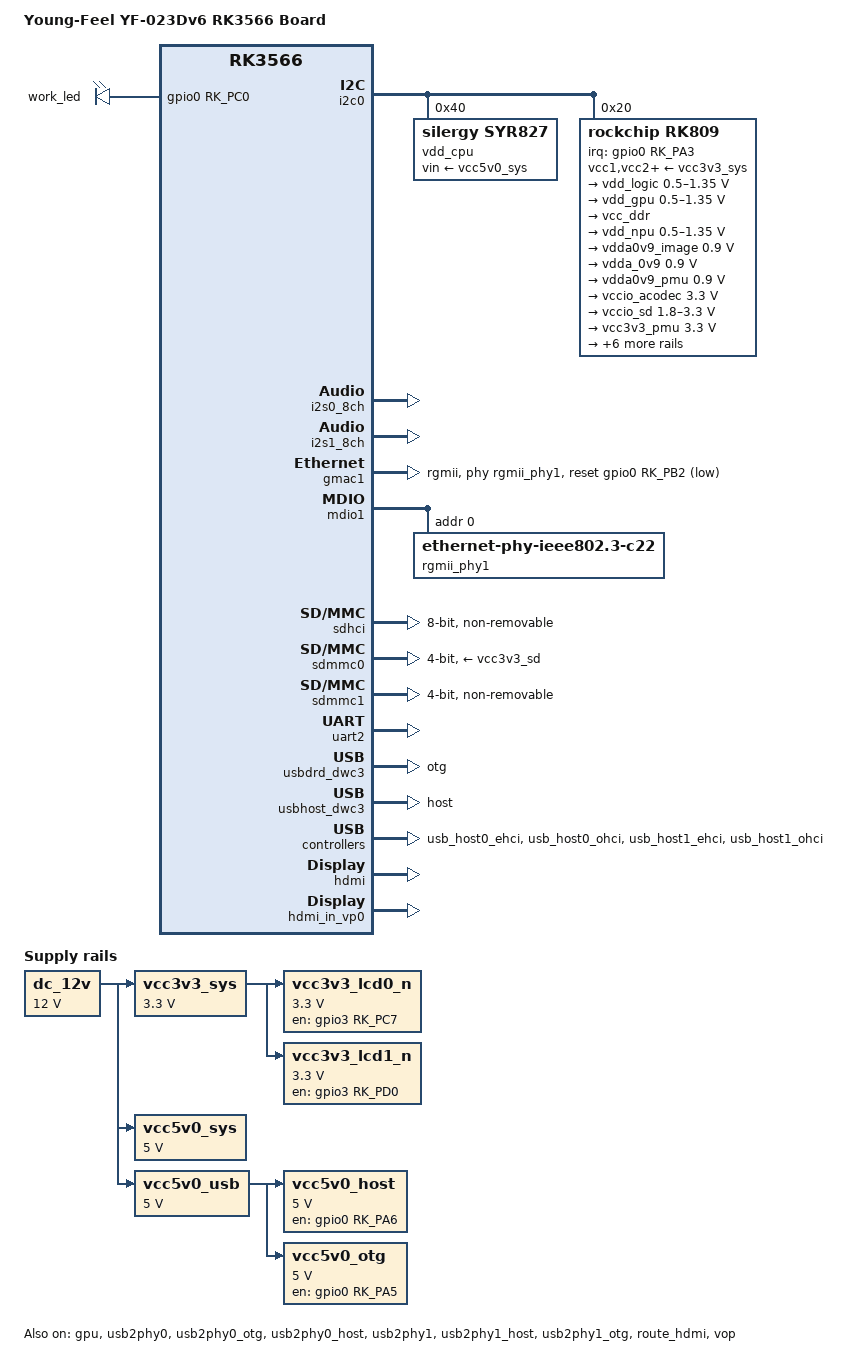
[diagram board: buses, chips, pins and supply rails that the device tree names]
// SPDX-License-Identifier: (GPL-2.0+ OR MIT)
/*
 * Young-Feel YF-023Dv6 RK3566 Board
 * Custom DTS for Armbian, based on mainline rk3566.dtsi
 */

/dts-v1/;

#include "rk3566.dtsi"
#include <dt-bindings/gpio/gpio.h>
#include <dt-bindings/pinctrl/rockchip.h>
#include <dt-bindings/interrupt-controller/irq.h>
#include <dt-bindings/leds/common.h>
#include <dt-bindings/soc/rockchip,vop2.h>

/ {
	model = "Young-Feel YF-023Dv6 RK3566 Board";
	compatible = "rockchip,rk3566-yf-xxxd-mipi", "rockchip,rk3566";

	aliases {
		ethernet0 = &gmac1;
		mmc0 = &sdhci;
		mmc1 = &sdmmc0;
		mmc2 = &sdmmc1;
	};

	chosen: chosen {
		stdout-path = "serial2:1500000n8";
	};

	dc_12v: dc-12v {
		compatible = "regulator-fixed";
		regulator-name = "dc_12v";
		regulator-always-on;
		regulator-boot-on;
		regulator-min-microvolt = <12000000>;
		regulator-max-microvolt = <12000000>;
	};

	vcc3v3_sys: vcc3v3-sys {
		compatible = "regulator-fixed";
		regulator-name = "vcc3v3_sys";
		regulator-always-on;
		regulator-boot-on;
		regulator-min-microvolt = <3300000>;
		regulator-max-microvolt = <3300000>;
		vin-supply = <&dc_12v>;
	};

	vcc5v0_sys: vcc5v0-sys {
		compatible = "regulator-fixed";
		regulator-name = "vcc5v0_sys";
		regulator-always-on;
		regulator-boot-on;
		regulator-min-microvolt = <5000000>;
		regulator-max-microvolt = <5000000>;
		vin-supply = <&dc_12v>;
	};

	vcc5v0_usb: vcc5v0-usb {
		compatible = "regulator-fixed";
		regulator-name = "vcc5v0_usb";
		regulator-always-on;
		regulator-boot-on;
		regulator-min-microvolt = <5000000>;
		regulator-max-microvolt = <5000000>;
		vin-supply = <&dc_12v>;
	};

	vcc5v0_host: vcc5v0-host-regulator {
		compatible = "regulator-fixed";
		regulator-name = "vcc5v0_host";
		regulator-boot-on;
		regulator-always-on;
		regulator-min-microvolt = <5000000>;
		regulator-max-microvolt = <5000000>;
		enable-active-high;
		gpio = <&gpio0 RK_PA6 GPIO_ACTIVE_HIGH>;
		vin-supply = <&vcc5v0_usb>;
		pinctrl-names = "default";
		pinctrl-0 = <&vcc5v0_host_en>;
	};

	vcc5v0_otg: vcc5v0-otg-regulator {
		compatible = "regulator-fixed";
		regulator-name = "vcc5v0_otg";
		regulator-min-microvolt = <5000000>;
		regulator-max-microvolt = <5000000>;
		enable-active-high;
		gpio = <&gpio0 RK_PA5 GPIO_ACTIVE_HIGH>;
		vin-supply = <&vcc5v0_usb>;
		pinctrl-names = "default";
		pinctrl-0 = <&vcc5v0_otg_en>;
	};

	vcc3v3_lcd0_n: vcc3v3-lcd0-n {
		compatible = "regulator-fixed";
		regulator-name = "vcc3v3_lcd0_n";
		regulator-boot-on;
		regulator-min-microvolt = <3300000>;
		regulator-max-microvolt = <3300000>;
		enable-active-high;
		gpio = <&gpio3 RK_PC7 GPIO_ACTIVE_HIGH>;
		vin-supply = <&vcc3v3_sys>;
	};

	vcc3v3_lcd1_n: vcc3v3-lcd1-n {
		compatible = "regulator-fixed";
		regulator-name = "vcc3v3_lcd1_n";
		regulator-boot-on;
		regulator-min-microvolt = <3300000>;
		regulator-max-microvolt = <3300000>;
		enable-active-high;
		gpio = <&gpio3 RK_PD0 GPIO_ACTIVE_HIGH>;
		vin-supply = <&vcc3v3_sys>;
	};

	leds: leds {
		compatible = "gpio-leds";

		work_led: work {
			gpios = <&gpio0 RK_PC0 GPIO_ACTIVE_HIGH>;
			linux,default-trigger = "heartbeat";
		};
	};

	hdmi_sound: hdmi-sound {
		compatible = "simple-audio-card";
		simple-audio-card,format = "i2s";
		simple-audio-card,mclk-fs = <128>;
		simple-audio-card,name = "rockchip,hdmi";
		status = "okay";

		simple-audio-card,cpu {
			sound-dai = <&i2s0_8ch>;
		};

		simple-audio-card,codec {
			sound-dai = <&hdmi>;
		};
	};

	rk809_sound: rk809-sound {
		status = "okay";
		compatible = "simple-audio-card";
		simple-audio-card,format = "i2s";
		simple-audio-card,name = "rockchip,rk809-codec";
		simple-audio-card,mclk-fs = <256>;

		simple-audio-card,cpu {
			sound-dai = <&i2s1_8ch>;
		};

		simple-audio-card,codec {
			sound-dai = <&rk809_codec>;
		};
	};
};

&cpu0 {
	cpu-supply = <&vdd_cpu>;
};

&cpu0_opp_table {
	/delete-node/ opp-1800000000;
};

&gpu {
	mali-supply = <&vdd_gpu>;
	status = "okay";
};

&gpu_opp_table {
	/delete-node/ opp-800000000;
};

&i2c0 {
	status = "okay";

	vdd_cpu: regulator@40 {
		compatible = "silergy,syr827";
		reg = <0x40>;
		vin-supply = <&vcc5v0_sys>;
		regulator-compatible = "fan53555-reg";
		regulator-name = "vdd_cpu";
		regulator-min-microvolt = <712500>;
		regulator-max-microvolt = <1390000>;
		regulator-ramp-delay = <2300>;
		fcs,suspend-voltage-selector = <1>;
		regulator-boot-on;
		regulator-always-on;

		regulator-state-mem {
			regulator-off-in-suspend;
		};
	};

	rk809: pmic@20 {
		compatible = "rockchip,rk809";
		reg = <0x20>;
		interrupt-parent = <&gpio0>;
		interrupts = <RK_PA3 IRQ_TYPE_LEVEL_LOW>;
		#clock-cells = <1>;
		clock-output-names = "rk808-clkout1", "rk808-clkout2";
		pinctrl-names = "default";
		pinctrl-0 = <&pmic_int_l>;
		rockchip,system-power-controller;
		wakeup-source;
		vcc1-supply = <&vcc3v3_sys>;
		vcc2-supply = <&vcc3v3_sys>;
		vcc3-supply = <&vcc3v3_sys>;
		vcc4-supply = <&vcc3v3_sys>;
		vcc5-supply = <&vcc3v3_sys>;
		vcc6-supply = <&vcc3v3_sys>;
		vcc7-supply = <&vcc3v3_sys>;
		vcc8-supply = <&vcc3v3_sys>;
		vcc9-supply = <&vcc3v3_sys>;

		regulators {
			vdd_logic: DCDC_REG1 {
				regulator-always-on;
				regulator-boot-on;
				regulator-min-microvolt = <500000>;
				regulator-max-microvolt = <1350000>;
				regulator-init-microvolt = <900000>;
				regulator-ramp-delay = <6001>;
				regulator-initial-mode = <0x2>;
				regulator-name = "vdd_logic";

				regulator-state-mem {
					regulator-off-in-suspend;
				};
			};

			vdd_gpu: DCDC_REG2 {
				regulator-always-on;
				regulator-boot-on;
				regulator-min-microvolt = <500000>;
				regulator-max-microvolt = <1350000>;
				regulator-init-microvolt = <900000>;
				regulator-ramp-delay = <6001>;
				regulator-initial-mode = <0x2>;
				regulator-name = "vdd_gpu";

				regulator-state-mem {
					regulator-off-in-suspend;
				};
			};

			vcc_ddr: DCDC_REG3 {
				regulator-always-on;
				regulator-boot-on;
				regulator-initial-mode = <0x2>;
				regulator-name = "vcc_ddr";

				regulator-state-mem {
					regulator-on-in-suspend;
				};
			};

			vdd_npu: DCDC_REG4 {
				regulator-always-on;
				regulator-boot-on;
				regulator-min-microvolt = <500000>;
				regulator-max-microvolt = <1350000>;
				regulator-init-microvolt = <900000>;
				regulator-ramp-delay = <6001>;
				regulator-initial-mode = <0x2>;
				regulator-name = "vdd_npu";

				regulator-state-mem {
					regulator-off-in-suspend;
				};
			};

			vdda0v9_image: LDO_REG1 {
				regulator-boot-on;
				regulator-always-on;
				regulator-min-microvolt = <900000>;
				regulator-max-microvolt = <900000>;
				regulator-name = "vdda0v9_image";

				regulator-state-mem {
					regulator-off-in-suspend;
				};
			};

			vdda_0v9: LDO_REG2 {
				regulator-always-on;
				regulator-boot-on;
				regulator-min-microvolt = <900000>;
				regulator-max-microvolt = <900000>;
				regulator-name = "vdda_0v9";

				regulator-state-mem {
					regulator-off-in-suspend;
				};
			};

			vdda0v9_pmu: LDO_REG3 {
				regulator-always-on;
				regulator-boot-on;
				regulator-min-microvolt = <900000>;
				regulator-max-microvolt = <900000>;
				regulator-name = "vdda0v9_pmu";

				regulator-state-mem {
					regulator-on-in-suspend;
					regulator-suspend-microvolt = <900000>;
				};
			};

			vccio_acodec: LDO_REG4 {
				regulator-always-on;
				regulator-boot-on;
				regulator-min-microvolt = <3300000>;
				regulator-max-microvolt = <3300000>;
				regulator-name = "vccio_acodec";

				regulator-state-mem {
					regulator-off-in-suspend;
				};
			};

			vccio_sd: LDO_REG5 {
				regulator-always-on;
				regulator-boot-on;
				regulator-min-microvolt = <1800000>;
				regulator-max-microvolt = <3300000>;
				regulator-name = "vccio_sd";

				regulator-state-mem {
					regulator-off-in-suspend;
				};
			};

			vcc3v3_pmu: LDO_REG6 {
				regulator-always-on;
				regulator-boot-on;
				regulator-min-microvolt = <3300000>;
				regulator-max-microvolt = <3300000>;
				regulator-name = "vcc3v3_pmu";

				regulator-state-mem {
					regulator-on-in-suspend;
					regulator-suspend-microvolt = <3300000>;
				};
			};

			vcca_1v8: LDO_REG7 {
				regulator-always-on;
				regulator-boot-on;
				regulator-min-microvolt = <1800000>;
				regulator-max-microvolt = <1800000>;
				regulator-name = "vcca_1v8";

				regulator-state-mem {
					regulator-off-in-suspend;
				};
			};

			vcca1v8_pmu: LDO_REG8 {
				regulator-always-on;
				regulator-boot-on;
				regulator-min-microvolt = <1800000>;
				regulator-max-microvolt = <1800000>;
				regulator-name = "vcca1v8_pmu";

				regulator-state-mem {
					regulator-on-in-suspend;
					regulator-suspend-microvolt = <1800000>;
				};
			};

			vcca1v8_image: LDO_REG9 {
				regulator-always-on;
				regulator-boot-on;
				regulator-min-microvolt = <1800000>;
				regulator-max-microvolt = <1800000>;
				regulator-name = "vcca1v8_image";

				regulator-state-mem {
					regulator-off-in-suspend;
				};
			};

			vcc_1v8: DCDC_REG5 {
				regulator-always-on;
				regulator-boot-on;
				regulator-min-microvolt = <1800000>;
				regulator-max-microvolt = <1800000>;
				regulator-name = "vcc_1v8";

				regulator-state-mem {
					regulator-off-in-suspend;
				};
			};

			vcc_3v3: SWITCH_REG1 {
				regulator-always-on;
				regulator-boot-on;
				regulator-name = "vcc_3v3";

				regulator-state-mem {
					regulator-off-in-suspend;
				};
			};

			vcc3v3_sd: SWITCH_REG2 {
				regulator-always-on;
				regulator-boot-on;
				regulator-name = "vcc3v3_sd";

				regulator-state-mem {
					regulator-off-in-suspend;
				};
			};
		};

		rk809_codec: codec {
			#sound-dai-cells = <0>;
			compatible = "rockchip,rk809-codec", "rockchip,rk817-codec";
			clocks = <&cru I2S1_MCLKOUT>;
			clock-names = "mclk";
			assigned-clocks = <&cru I2S1_MCLKOUT>, <&cru I2S1_MCLK_TX_IOE>;
			assigned-clock-rates = <12288000>;
			assigned-clock-parents = <&cru I2S1_MCLKOUT_TX>, <&cru I2S1_MCLKOUT_TX>;
			pinctrl-names = "default";
			pinctrl-0 = <&i2s1m0_mclk>;
			spk-ctl-gpios = <&gpio3 RK_PA5 GPIO_ACTIVE_HIGH>;
			hp-volume = <28>;
			spk-volume = <28>;
			capture-volume = <10>;
			mic-in-differential;
			status = "okay";
		};
	};
};

&i2s0_8ch {
	status = "okay";
};

&i2s1_8ch {
	status = "okay";
	rockchip,clk-trcm = <1>;
	pinctrl-names = "default";
	pinctrl-0 = <&i2s1m0_sclktx
		     &i2s1m0_lrcktx
		     &i2s1m0_sdi0
		     &i2s1m0_sdo0>;
};

&gmac1 {
	status = "okay";
	phy-mode = "rgmii";
	clock_in_out = "output";

	snps,reset-gpio = <&gpio0 RK_PB2 GPIO_ACTIVE_LOW>;
	snps,reset-active-low;
	snps,reset-delays-us = <0 20000 100000>;

	assigned-clocks = <&cru SCLK_GMAC1_RX_TX>, <&cru SCLK_GMAC1>;
	assigned-clock-parents = <&cru SCLK_GMAC1_RGMII_SPEED>, <&cru CLK_MAC1_2TOP>;
	assigned-clock-rates = <0>, <125000000>;

	pinctrl-names = "default";
	pinctrl-0 = <&gmac1m1_miim
		     &gmac1m1_tx_bus2
		     &gmac1m1_rx_bus2
		     &gmac1m1_rgmii_clk
		     &gmac1m1_rgmii_bus>;

	tx_delay = <0x48>;
	rx_delay = <0x36>;

	phy-handle = <&rgmii_phy1>;
};

&mdio1 {
	rgmii_phy1: ethernet-phy@0 {
		compatible = "ethernet-phy-ieee802.3-c22";
		reg = <0>;
	};
};

&sdhci {
	status = "okay";
	bus-width = <8>;
	supports-emmc;
	non-removable;
	max-frequency = <200000000>;
};

&sdmmc0 {
	status = "okay";
	supports-sd;
	bus-width = <4>;
	cap-mmc-highspeed;
	cap-sd-highspeed;
	disable-wp;
	sd-uhs-sdr104;
	vmmc-supply = <&vcc3v3_sd>;
	vqmmc-supply = <&vccio_sd>;
	pinctrl-names = "default";
	pinctrl-0 = <&sdmmc0_bus4 &sdmmc0_clk &sdmmc0_cmd &sdmmc0_det>;
};

&sdmmc1 {
	status = "okay";
	supports-sdio;
	bus-width = <4>;
	disable-wp;
	cap-sd-highspeed;
	cap-sdio-irq;
	keep-power-in-suspend;
	non-removable;
	mmc-pwrseq = <&sdio_pwrseq>;
	pinctrl-names = "default";
	pinctrl-0 = <&sdmmc1_bus4 &sdmmc1_cmd &sdmmc1_clk>;
	sd-uhs-sdr104;
};

&uart2 {
	status = "okay";
	pinctrl-names = "default";
	pinctrl-0 = <&uart2m0_xfer>;
};

&usb2phy0 {
	status = "okay";
};

&usb2phy0_otg {
	status = "okay";
	phy-supply = <&vcc5v0_otg>;
};

&usb2phy0_host {
	status = "okay";
	phy-supply = <&vcc5v0_host>;
};

&usb2phy1 {
	status = "okay";
};

&usb2phy1_host {
	status = "okay";
	phy-supply = <&vcc5v0_host>;
};

&usb2phy1_otg {
	status = "okay";
	phy-supply = <&vcc5v0_host>;
};

&usbdrd_dwc3 {
	status = "okay";
	dr_mode = "otg";
	maximum-speed = "high-speed";
	extcon = <&usb2phy0>;
};

&usbhost_dwc3 {
	status = "okay";
	dr_mode = "host";
};

&usb_host0_ehci {
	status = "okay";
};

&usb_host0_ohci {
	status = "okay";
};

&usb_host1_ehci {
	status = "okay";
};

&usb_host1_ohci {
	status = "okay";
};

&hdmi {
	status = "okay";
};

&hdmi_in_vp0 {
	status = "okay";
};

&route_hdmi {
	status = "okay";
};

&vop {
	status = "okay";
	assigned-clocks = <&cru DCLK_VOP0>, <&cru DCLK_VOP1>;
	assigned-clock-parents = <&pmucru PLL_HPLL>, <&cru PLL_VPLL>;
};

&vop_mmu {
	status = "okay";
};

&pinctrl {
	pmic {
		pmic_int_l: pmic-int-l {
			rockchip,pins = <0 RK_PA3 RK_FUNC_GPIO &pcfg_pull_up>;
		};
	};

	usb {
		vcc5v0_host_en: vcc5v0-host-en {
			rockchip,pins = <0 RK_PA6 RK_FUNC_GPIO &pcfg_pull_none>;
		};

		vcc5v0_otg_en: vcc5v0-otg-en {
			rockchip,pins = <0 RK_PA5 RK_FUNC_GPIO &pcfg_pull_none>;
		};
	};

	sdio-pwrseq {
		wifi_enable_h: wifi-enable-h {
			rockchip,pins = <2 RK_PA9 RK_FUNC_GPIO &pcfg_pull_none>;
		};
	};
};
